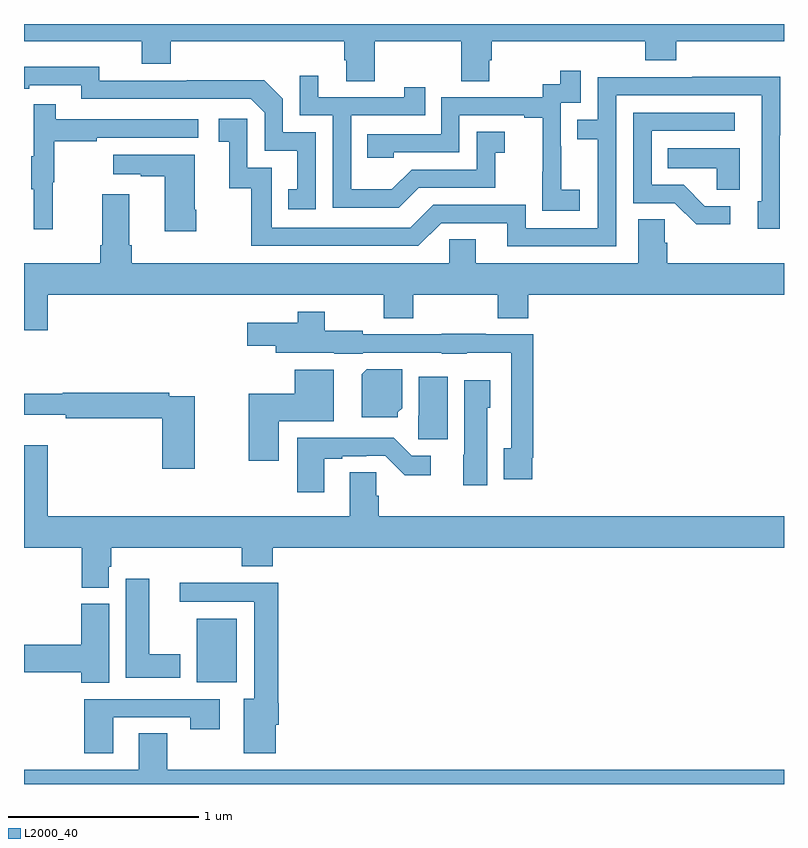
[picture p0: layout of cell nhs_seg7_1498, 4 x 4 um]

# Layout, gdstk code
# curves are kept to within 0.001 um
import gdstk
lib = gdstk.Library(unit=1e-6, precision=1e-09)
def R(c, l, rs):  # rectangles x0, y0, x1, y1
    for r in rs: c.add(gdstk.rectangle(r[:2], r[2:], *l))
def P(c, l, *ps):  # polygons
    for p in ps: c.add(gdstk.Polygon(p, *l))
L2000_40 = (2000, 40)

nhs_seg7_1498 = lib.new_cell('nhs_seg7_1498')
R(nhs_seg7_1498, L2000_40, [(213.908,1038.536,214.12,1038.871)])
P(nhs_seg7_1498, L2000_40, [(214.845,1041.908),(215.302,1041.908),(215.302,1041.7),(215.449,1041.7),(215.449,1041.81),(215.462,1041.81),(215.462,1041.908),(216.269,1041.908),(216.269,1041.809),(216.434,1041.809),(216.434,1041.908),(217,1041.908),(217,1042),(213,1042),(213,1041.908),(213.62,1041.908),(213.62,1041.791),(213.773,1041.791),(213.773,1041.908),(214.685,1041.908),(214.685,1041.81),(214.697,1041.81),(214.697,1041.7),(214.845,1041.7)],
  [(214.536,1041.429),(214.362,1041.429),(214.362,1041.606),(214.264,1041.704),(213.856,1041.704),(213.856,1041.702),(213.396,1041.702),(213.396,1041.775),(213,1041.774),(213,1041.658),(213.028,1041.658),(213.028,1041.678),(213.3,1041.678),(213.3,1041.606),(214.194,1041.606),(214.266,1041.534),(214.266,1041.333),(214.439,1041.333),(214.439,1041.129),(214.39,1041.129),(214.39,1041.024),(214.536,1041.024)],
  [(215.926,1041.127),(215.828,1041.127),(215.828,1041.356),(215.826,1041.356),(215.826,1041.585),(215.931,1041.585),(215.931,1041.754),(215.823,1041.754),(215.823,1041.684),(215.73,1041.684),(215.73,1041.615),(215.196,1041.615),(215.196,1041.42),(214.807,1041.42),(214.807,1041.297),(214.947,1041.297),(214.947,1041.324),(215.292,1041.324),(215.292,1041.519),(215.633,1041.519),(215.633,1041.507),(215.729,1041.507),(215.729,1041.223),(215.728,1041.223),(215.728,1041.017),(215.926,1041.017)],
  [(215.077,1041.138),(215.481,1041.138),(215.481,1041.323),(215.53,1041.323),(215.53,1041.433),(215.382,1041.433),(215.382,1041.234),(215.04,1041.234),(214.936,1041.13),(214.722,1041.13),(214.722,1041.519),(215.111,1041.519),(215.111,1041.667),(215,1041.667),(215,1041.615),(214.549,1041.615),(214.549,1041.727),(214.452,1041.727),(214.452,1041.519),(214.626,1041.519),(214.626,1041.033),(214.972,1041.033)],
  [(216.117,1041.624),(216.882,1041.624),(216.882,1041.066),(216.863,1041.066),(216.863,1040.922),(216.978,1040.922),(216.978,1041.415),(216.981,1041.415),(216.981,1041.722),(216.517,1041.722),(216.517,1041.72),(216.021,1041.72),(216.021,1041.495),(215.911,1041.495),(215.911,1041.394),(216.021,1041.394),(216.021,1040.925),(215.64,1040.925),(215.64,1041.048),(215.154,1041.048),(215.034,1040.928),(214.305,1040.928),(214.305,1041.243),(214.176,1041.243),(214.176,1041.502),(214.026,1041.502),(214.026,1041.381),(214.079,1041.381),(214.079,1041.135),(214.197,1041.135),(214.197,1040.832),(215.076,1040.832),(215.196,1040.952),(215.543,1040.952),(215.543,1040.829),(216.117,1040.829)],
  [(213.152,1041.168),(213.16,1041.168),(213.16,1041.382),(213.383,1041.382),(213.383,1041.402),(213.916,1041.402),(213.916,1041.498),(213.167,1041.498),(213.167,1041.577),(213.05,1041.577),(213.05,1041.305),(213.039,1041.305),(213.039,1041.131),(213.05,1041.131),(213.05,1040.919),(213.152,1040.919)],
  [(216.718,1041.042),(216.583,1041.042),(216.472,1041.153),(216.303,1041.153),(216.303,1041.438),(216.742,1041.438),(216.742,1041.534),(216.207,1041.534),(216.207,1041.057),(216.426,1041.057),(216.539,1040.945),(216.718,1040.945)],
  [(216.766,1041.346),(216.388,1041.346),(216.388,1041.242),(216.645,1041.242),(216.645,1041.127),(216.766,1041.127)],
  [(213.906,1041.022),(213.898,1041.022),(213.898,1041.313),(213.471,1041.313),(213.471,1041.209),(213.614,1041.209),(213.614,1041.199),(213.74,1041.199),(213.74,1040.91),(213.906,1040.91)],
  [(214.894,1040.452),(215.049,1040.452),(215.049,1040.576),(215.494,1040.576),(215.494,1040.452),(215.654,1040.452),(215.654,1040.576),(217,1040.576),(217,1040.74),(216.386,1040.74),(216.386,1040.849),(216.372,1040.849),(216.372,1040.972),(216.233,1040.972),(216.233,1040.74),(215.377,1040.74),(215.377,1040.867),(215.238,1040.867),(215.238,1040.74),(213.566,1040.74),(213.566,1040.836),(213.553,1040.836),(213.553,1041.103),(213.413,1041.103),(213.413,1040.836),(213.401,1040.836),(213.401,1040.74),(213,1040.74),(213,1040.388),(213.124,1040.388),(213.124,1040.576),(214.894,1040.576)],
  [(215.674,1039.717),(215.681,1039.717),(215.681,1040.367),(215.431,1040.367),(215.431,1040.369),(215.199,1040.369),(215.199,1040.367),(214.782,1040.367),(214.782,1040.386),(214.582,1040.386),(214.582,1040.485),(214.441,1040.485),(214.441,1040.428),(214.176,1040.428),(214.176,1040.306),(214.325,1040.306),(214.325,1040.27),(214.632,1040.27),(214.632,1040.264),(214.782,1040.264),(214.782,1040.271),(215.199,1040.271),(215.199,1040.264),(215.331,1040.264),(215.331,1040.27),(215.565,1040.27),(215.565,1039.766),(215.525,1039.766),(215.525,1039.605),(215.674,1039.605)],
  [(214.968,1039.956),(214.99,1039.978),(214.99,1040.182),(214.804,1040.182),(214.778,1040.156),(214.778,1039.931),(214.968,1039.931)],
  [(214.342,1039.91),(214.63,1039.91),(214.63,1040.18),(214.424,1040.18),(214.424,1040.053),(214.184,1040.053),(214.184,1039.701),(214.342,1039.701)],
  [(215.23,1040.143),(215.078,1040.143),(215.078,1039.938),(215.074,1039.938),(215.074,1039.815),(215.23,1039.815)],
  [(215.437,1039.98),(215.455,1039.98),(215.455,1040.125),(215.318,1040.125),(215.318,1039.734),(215.312,1039.734),(215.312,1039.572),(215.437,1039.572)],
  [(213.898,1040.04),(213.764,1040.04),(213.764,1040.06),(213.204,1040.06),(213.204,1040.053),(213,1040.053),(213,1039.943),(213.22,1039.943),(213.22,1039.924),(213.728,1039.924),(213.728,1039.659),(213.898,1039.659)],
  [(214.579,1039.713),(214.675,1039.713),(214.675,1039.725),(214.802,1039.725),(214.802,1039.728),(214.902,1039.728),(215.005,1039.626),(215.14,1039.626),(215.14,1039.728),(215.04,1039.728),(214.946,1039.822),(214.439,1039.822),(214.439,1039.536),(214.579,1039.536)],
  [(213.445,1039.143),(213.458,1039.143),(213.458,1039.244),(214.145,1039.244),(214.145,1039.145),(214.31,1039.145),(214.31,1039.244),(217,1039.244),(217,1039.408),(214.868,1039.408),(214.868,1039.518),(214.854,1039.518),(214.854,1039.64),(214.715,1039.64),(214.715,1039.408),(213.124,1039.408),(213.124,1039.783),(213,1039.783),(213,1039.244),(213.305,1039.244),(213.305,1039.033),(213.445,1039.033)],
  [(213.823,1038.682),(213.658,1038.682),(213.658,1039.081),(213.536,1039.081),(213.536,1038.56),(213.823,1038.56)],
  [(214.324,1038.312),(214.342,1038.312),(214.342,1038.426),(214.337,1038.426),(214.337,1039.058),(213.819,1039.058),(213.819,1038.96),(214.211,1038.96),(214.211,1038.448),(214.157,1038.448),(214.157,1038.162),(214.324,1038.162)],
  [(213.448,1038.948),(213.302,1038.948),(213.302,1038.734),(213,1038.734),(213,1038.587),(213.302,1038.587),(213.302,1038.532),(213.448,1038.532)],
  [(213.469,1038.351),(213.874,1038.351),(213.874,1038.288),(214.03,1038.288),(214.03,1038.447),(213.317,1038.447),(213.317,1038.162),(213.469,1038.162)],
  [(217,1038.076),(213.753,1038.076),(213.753,1038.266),(213.605,1038.266),(213.605,1038.076),(213,1038.076),(213,1038),(217,1038)])

lib.write_gds('nhs_seg7_1498.gds')
